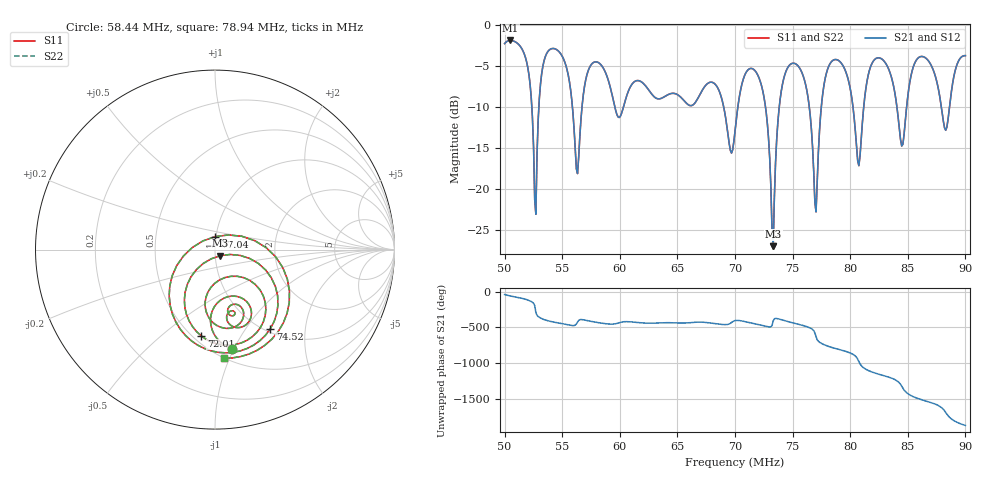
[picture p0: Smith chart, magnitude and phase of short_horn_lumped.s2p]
! Generated by Python
# HZ S RI R 50
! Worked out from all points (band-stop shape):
!   399 points, 50 MHz to 90 MHz, reference 50 ohm
!   highest |S21| = -1.94 dB at 50.5 MHz (marker M1); lowest = -27.0 dB at 73.32 MHz (marker M2)
!   |S21| within 3 dB of the highest: start of sweep to 51.97 MHz; 53.34 MHz to 55.31 MHz (1.967 MHz wide, 3.62 % of centre) (the widest 2 of 8)
!   lowest |S11| = -27.0 dB at 73.32 MHz (marker M3), VSWR 1.09, Z = 52.9 - j3.57 ohm
!   |S11| at or under -10 dB: 69.01 MHz to 70.25 MHz (1.238 MHz wide, 1.78 % of centre); 72.64 MHz to 73.84 MHz (1.201 MHz wide, 1.64 % of centre); 76.45 MHz to 77.5 MHz (1.05 MHz wide, 1.36 % of centre) (the widest 3 of 9)
!   |S22| runs from -27.0 to -1.9 dB; largest |S21 - S12| = 0
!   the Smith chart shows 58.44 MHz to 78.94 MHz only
!   S11 on the Smith chart (normalised r, x): 58.44 MHz: 0.61, -0.98; 72.01 MHz: 0.55, -0.69; 74.52 MHz: 1.06, -1.31; 77.04 MHz: 0.99, +0.14; 78.94 MHz: 0.50, -0.95
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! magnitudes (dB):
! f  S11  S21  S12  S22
! 50 MHz  -2.3  -2.3  -2.3  -2.3
! 50.5 MHz  -1.9  -1.9  -1.9  -1.9
! 52.11 MHz  -6.1  -6.1  -6.1  -6.1
! 52.71 MHz  -23.1  -23.1  -23.1  -23.1
! 53.62 MHz  -3.6  -3.6  -3.6  -3.6
! 56.33 MHz  -18.1  -18.1  -18.1  -18.1
! 56.73 MHz  -9.8  -9.8  -9.8  -9.8
! 58.44 MHz  -5.0  -5.0  -5.0  -5.0
! 63.37 MHz  -9.0  -9.0  -9.0  -9.0
! 70 MHz  -13.0  -13.0  -13.0  -13.0
! 72.01 MHz  -6.2  -6.2  -6.2  -6.2
! 73.32 MHz  -27.0  -27.0  -27.0  -27.0
! 74.52 MHz  -5.4  -5.4  -5.4  -5.4
! 76.73 MHz  -14.9  -14.9  -14.9  -14.9
! 77.04 MHz  -22.8  -22.8  -22.8  -22.8
! 77.64 MHz  -8.2  -8.2  -8.2  -8.2
! 78.94 MHz  -4.3  -4.3  -4.3  -4.3
! 80.75 MHz  -17.2  -17.2  -17.2  -17.2
! 83.37 MHz  -5.5  -5.5  -5.5  -5.5
! 84.47 MHz  -14.8  -14.8  -14.8  -14.8
! 85.78 MHz  -4.3  -4.3  -4.3  -4.3
! 90 MHz  -3.8  -3.8  -3.8  -3.8
